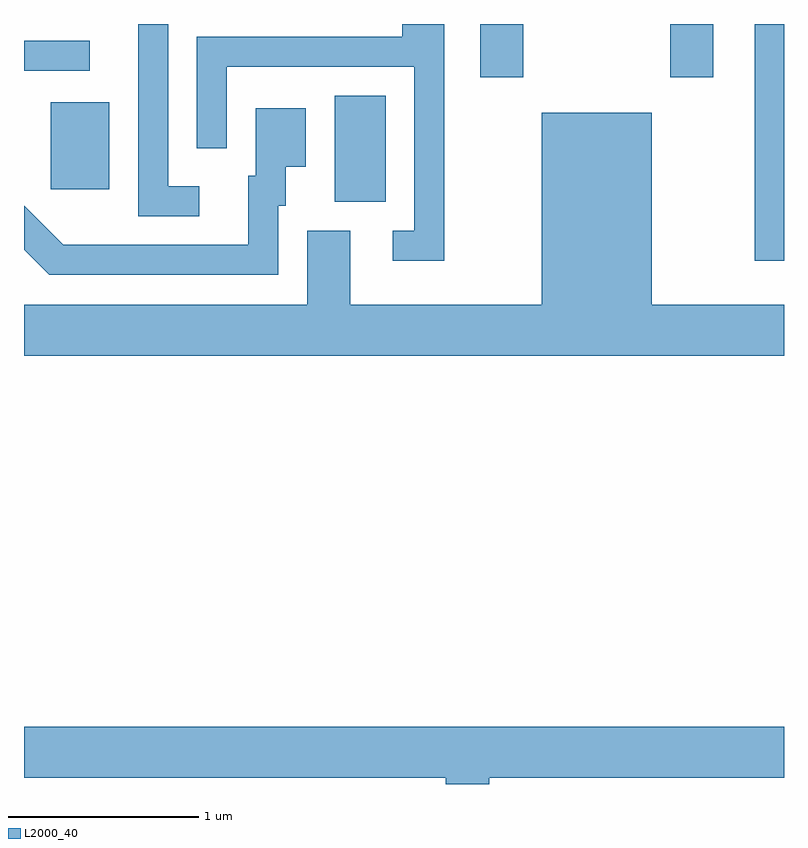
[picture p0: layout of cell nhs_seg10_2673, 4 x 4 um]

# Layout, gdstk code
import gdstk
lib = gdstk.Library(unit=1e-6, precision=1e-09)
def R(c, l, rs):  # rectangles x0, y0, x1, y1
    for r in rs: c.add(gdstk.rectangle(r[:2], r[2:], *l))
def P(c, l, *ps):  # polygons
    for p in ps: c.add(gdstk.Polygon(p, *l))
L2000_40 = (2000, 40)

nhs_seg10_2673 = lib.new_cell('nhs_seg10_2673')
R(nhs_seg10_2673, L2000_40, [(267.456,2143.276,267.611,2144.522), (265.246,2143.586,265.514,2144.144), (263.751,2143.651,264.059,2144.109), (266.011,2144.241,266.239,2144.522), (267.011,2144.241,267.239,2144.522), (263.611,2144.276,263.958,2144.434)])
P(nhs_seg10_2673, L2000_40, [(265.824,2144.522),(265.601,2144.522),(265.601,2144.454),(264.521,2144.454),(264.521,2143.868),(264.679,2143.868),(264.679,2144.296),(265.666,2144.296),(265.666,2143.434),(265.553,2143.434),(265.553,2143.276),(265.824,2143.276)],
  [(264.533,2143.669),(264.369,2143.669),(264.369,2144.522),(264.211,2144.522),(264.211,2143.511),(264.533,2143.511)],
  [(264.949,2143.566),(264.989,2143.566),(264.989,2143.771),(265.094,2143.771),(265.094,2144.079),(264.831,2144.079),(264.831,2143.724),(264.791,2143.724),(264.791,2143.359),(263.817,2143.359),(263.611,2143.565),(263.611,2143.334),(263.744,2143.201),(264.949,2143.201)],
  [(267.611,2143.044),(266.914,2143.044),(266.914,2144.054),(266.336,2144.054),(266.336,2143.044),(265.329,2143.044),(265.329,2143.434),(265.101,2143.434),(265.101,2143.044),(263.611,2143.044),(263.611,2142.776),(267.611,2142.776)],
  [(266.059,2140.556),(267.611,2140.556),(267.611,2140.824),(263.611,2140.824),(263.611,2140.556),(265.831,2140.556),(265.831,2140.522),(266.059,2140.522)])

lib.write_gds('nhs_seg10_2673.gds')
